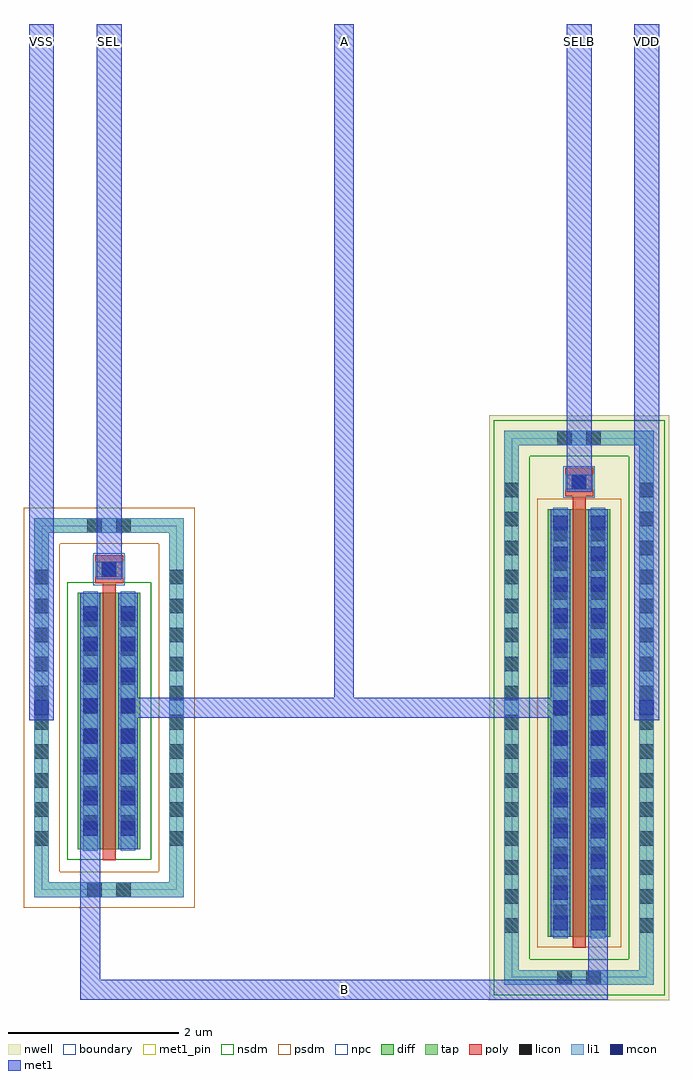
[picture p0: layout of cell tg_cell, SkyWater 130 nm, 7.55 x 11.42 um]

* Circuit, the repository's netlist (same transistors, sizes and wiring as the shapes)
** sch_path: /home/jonobo/working/tinytapeout/pipeline-test/tt-analog-sky26e/analog/mux/tg_cell.sch
.subckt tg_cell SEL SELB A B VSS VDD
*.PININFO SEL:I SELB:I A:B B:B VSS:B VDD:B
XMn B SEL A VSS sky130_fd_pr__nfet_01v8 L=0.15 W=3 nf=1 m=1
XMp B SELB A VDD sky130_fd_pr__pfet_01v8 L=0.15 W=5 nf=1 m=1
.ends

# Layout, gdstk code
from math import pi, radians
import gdstk
lib = gdstk.Library(unit=1e-6, precision=1e-09)
def R(c, l, rs):  # rectangles x0, y0, x1, y1
    for r in rs: c.add(gdstk.rectangle(r[:2], r[2:], *l))
def A(c, l, x, y, w, h, nx, ny, dx, dy):  # array of equal rectangles
    R(c, l, [(x+i*dx, y+j*dy, x+i*dx+w, y+j*dy+h) for i in range(nx) for j in range(ny)])
nwell = (64, 20)
diff = (65, 20)
tap = (65, 44)
poly = (66, 20)
licon = (66, 44)
li1 = (67, 20)
mcon = (67, 44)
met1_pin = (68, 16)
met1 = (68, 20)
nsdm = (93, 44)
psdm = (94, 20)
npc = (95, 20)
boundary = (235, 4)

dev_nfet_w3p0_l0p15_t1b0 = lib.new_cell('dev_nfet_w3p0_l0p15_t1b0')
R(dev_nfet_w3p0_l0p15_t1b0, diff, [(-0.365,-1.655,0.365,1.345)])
R(dev_nfet_w3p0_l0p15_t1b0, tap, [(-0.875,-2.215,0.875,-2.045), (-0.875,-2.045,-0.705,2.045), (0.705,-2.045,0.875,2.045), (-0.875,2.045,0.875,2.215)])
R(dev_nfet_w3p0_l0p15_t1b0, poly, [(-0.075,-1.785,0.075,1.455), (-0.165,1.455,0.165,1.785)])
A(dev_nfet_w3p0_l0p15_t1b0, licon, -0.875, -1.615, 0.17, 0.17, 1, 10, 0, 0.34)
A(dev_nfet_w3p0_l0p15_t1b0, licon, 0.705, -1.615, 0.17, 0.17, 1, 10, 0, 0.34)
A(dev_nfet_w3p0_l0p15_t1b0, licon, -0.305, -1.43, 0.17, 0.17, 1, 8, 0, 0.34)
A(dev_nfet_w3p0_l0p15_t1b0, licon, 0.135, -1.43, 0.17, 0.17, 1, 8, 0, 0.34)
R(dev_nfet_w3p0_l0p15_t1b0, licon, [(-0.255,-2.215,-0.085,-2.045), (0.085,-2.215,0.255,-2.045), (-0.085,1.535,0.085,1.705), (-0.255,2.045,-0.085,2.215), (0.085,2.045,0.255,2.215)])
R(dev_nfet_w3p0_l0p15_t1b0, li1, [(-0.875,-2.215,0.875,-2.045), (-0.875,-2.045,-0.705,2.045), (0.705,-2.045,0.875,2.045), (-0.305,-1.675,-0.135,1.365), (0.135,-1.675,0.305,1.365), (-0.165,1.535,0.165,1.705), (-0.875,2.045,0.875,2.215)])
A(dev_nfet_w3p0_l0p15_t1b0, mcon, -0.305, -1.5, 0.17, 0.17, 1, 8, 0, 0.36)
A(dev_nfet_w3p0_l0p15_t1b0, mcon, 0.135, -1.5, 0.17, 0.17, 1, 8, 0, 0.36)
R(dev_nfet_w3p0_l0p15_t1b0, mcon, [(-0.085,1.535,0.085,1.705)])
R(dev_nfet_w3p0_l0p15_t1b0, met1, [(-0.335,-1.655,-0.105,1.345), (0.105,-1.655,0.335,1.345), (-0.145,1.505,0.145,1.735)])
R(dev_nfet_w3p0_l0p15_t1b0, nsdm, [(-0.49,-1.78,0.49,1.47)])
R(dev_nfet_w3p0_l0p15_t1b0, psdm, [(-1,-2.34,1,-1.92), (-1,-1.92,-0.58,1.92), (0.58,-1.92,1,1.92), (-1,1.92,1,2.34)])
R(dev_nfet_w3p0_l0p15_t1b0, npc, [(-0.185,1.435,0.185,1.805)])
R(dev_nfet_w3p0_l0p15_t1b0, boundary, [(-0.79,-2.13,0.79,2.13)])
dev_nfet_w3p0_l0p15_t1b0.add(gdstk.Label('B', (0,-2.13), layer=67, texttype=5))
dev_nfet_w3p0_l0p15_t1b0.add(gdstk.Label('D', (-0.22,-0.155), layer=67, texttype=5))
dev_nfet_w3p0_l0p15_t1b0.add(gdstk.Label('S', (0.22,-0.155), layer=67, texttype=5))
dev_nfet_w3p0_l0p15_t1b0.add(gdstk.Label('G', (0,1.62), layer=67, texttype=5))

dev_pfet_w5p0_l0p15_t1b0 = lib.new_cell('dev_pfet_w5p0_l0p15_t1b0')
R(dev_pfet_w5p0_l0p15_t1b0, nwell, [(-1.055,-3.42,1.055,3.42)])
R(dev_pfet_w5p0_l0p15_t1b0, diff, [(-0.365,-2.68,0.365,2.32)])
R(dev_pfet_w5p0_l0p15_t1b0, tap, [(-0.875,-3.24,0.875,-3.07), (-0.875,-3.07,-0.705,3.07), (0.705,-3.07,0.875,3.07), (-0.875,3.07,0.875,3.24)])
R(dev_pfet_w5p0_l0p15_t1b0, poly, [(-0.075,-2.81,0.075,2.475), (-0.165,2.475,0.165,2.805)])
A(dev_pfet_w5p0_l0p15_t1b0, licon, -0.875, -2.635, 0.17, 0.17, 1, 16, 0, 0.34)
A(dev_pfet_w5p0_l0p15_t1b0, licon, 0.705, -2.635, 0.17, 0.17, 1, 16, 0, 0.34)
A(dev_pfet_w5p0_l0p15_t1b0, licon, -0.305, -2.475, 0.17, 0.17, 1, 14, 0, 0.34)
A(dev_pfet_w5p0_l0p15_t1b0, licon, 0.135, -2.475, 0.17, 0.17, 1, 14, 0, 0.34)
R(dev_pfet_w5p0_l0p15_t1b0, licon, [(-0.255,-3.24,-0.085,-3.07), (0.085,-3.24,0.255,-3.07), (-0.085,2.555,0.085,2.725), (-0.255,3.07,-0.085,3.24), (0.085,3.07,0.255,3.24)])
R(dev_pfet_w5p0_l0p15_t1b0, li1, [(-0.875,-3.24,0.875,-3.07), (-0.875,-3.07,-0.705,3.07), (0.705,-3.07,0.875,3.07), (-0.305,-2.7,-0.135,2.34), (0.135,-2.7,0.305,2.34), (-0.165,2.555,0.165,2.725), (-0.875,3.07,0.875,3.24)])
A(dev_pfet_w5p0_l0p15_t1b0, mcon, -0.305, -2.605, 0.17, 0.17, 1, 14, 0, 0.36)
A(dev_pfet_w5p0_l0p15_t1b0, mcon, 0.135, -2.605, 0.17, 0.17, 1, 14, 0, 0.36)
R(dev_pfet_w5p0_l0p15_t1b0, mcon, [(-0.085,2.555,0.085,2.725)])
R(dev_pfet_w5p0_l0p15_t1b0, met1, [(-0.335,-2.68,-0.105,2.32), (0.105,-2.68,0.335,2.32), (-0.145,2.525,0.145,2.755)])
R(dev_pfet_w5p0_l0p15_t1b0, nsdm, [(-1,-3.365,1,-2.945), (-1,-2.945,-0.58,2.945), (0.58,-2.945,1,2.945), (-1,2.945,1,3.365)])
R(dev_pfet_w5p0_l0p15_t1b0, psdm, [(-0.49,-2.805,0.49,2.445)])
R(dev_pfet_w5p0_l0p15_t1b0, npc, [(-0.185,2.455,0.185,2.825)])
R(dev_pfet_w5p0_l0p15_t1b0, boundary, [(-0.79,-3.155,0.79,3.155)])
dev_pfet_w5p0_l0p15_t1b0.add(gdstk.Label('B', (0,-3.155), layer=67, texttype=5))
dev_pfet_w5p0_l0p15_t1b0.add(gdstk.Label('D', (-0.22,-0.18), layer=67, texttype=5))
dev_pfet_w5p0_l0p15_t1b0.add(gdstk.Label('S', (0.22,-0.18), layer=67, texttype=5))
dev_pfet_w5p0_l0p15_t1b0.add(gdstk.Label('G', (0,2.64), layer=67, texttype=5))

tg_cell = lib.new_cell('tg_cell')
R(tg_cell, li1, [(-0.875,-0.085,-0.705,0.085), (6.205,-0.085,6.375,0.085)])
R(tg_cell, mcon, [(-0.875,-0.085,-0.705,0.085), (6.205,-0.085,6.375,0.085)])
A(tg_cell, met1_pin, -0.05, 7.75, 0.1, 0.1, 3, 1, 2.75, 0)
R(tg_cell, met1_pin, [(2.7,-3.35,2.8,-3.25), (-0.84,7.75,-0.74,7.85), (6.24,7.75,6.34,7.85)])
R(tg_cell, met1, [(-0.335,-3.415,5.835,-3.185), (-0.335,-3.185,-0.105,-1.5), (5.605,-3.185,5.835,-1.5), (-0.935,-0.145,-0.645,8), (6.145,-0.145,6.435,8), (0.105,-0.115,5.395,0.115), (2.635,0.115,2.865,8), (-0.145,1.55,0.145,8), (5.355,2.55,5.645,8)])
tg_cell.add(gdstk.Reference(dev_nfet_w3p0_l0p15_t1b0, (0,0)))
tg_cell.add(gdstk.Reference(dev_pfet_w5p0_l0p15_t1b0, (5.5,0), rotation=pi, x_reflection=True))
tg_cell.add(gdstk.Label('VSS', (-0.79,7.8), layer=68, texttype=5))
tg_cell.add(gdstk.Label('SEL', (0,7.8), layer=68, texttype=5))
tg_cell.add(gdstk.Label('A', (2.75,7.8), layer=68, texttype=5))
tg_cell.add(gdstk.Label('SELB', (5.5,7.8), layer=68, texttype=5))
tg_cell.add(gdstk.Label('VDD', (6.29,7.8), layer=68, texttype=5))
tg_cell.add(gdstk.Label('B', (2.75,-3.3), layer=68, texttype=5))

lib.write_gds('tg_cell.gds')
